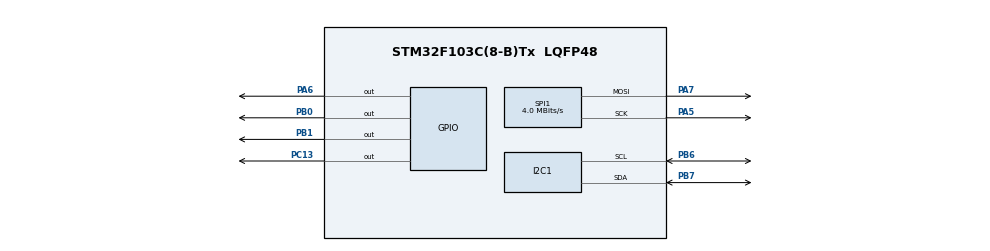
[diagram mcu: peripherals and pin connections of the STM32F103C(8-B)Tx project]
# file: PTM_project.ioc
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Mcu.Family=STM32F1
Mcu.Name=STM32F103C(8-B)Tx
Mcu.Package=LQFP48
NVIC.PriorityGroup=NVIC_PRIORITYGROUP_4
PA5.Mode=TX_Only_Simplex_Unidirect_Master
PA5.Signal=SPI1_SCK
PA6.Signal=GPIO_Output
PA7.Mode=TX_Only_Simplex_Unidirect_Master
PA7.Signal=SPI1_MOSI
PB0.Signal=GPIO_Output
PB1.Signal=GPIO_Output
PB6.Mode=I2C
PB6.Signal=I2C1_SCL
PB7.Mode=I2C
PB7.Signal=I2C1_SDA
PC13-TAMPER-RTC.Signal=GPIO_Output
PC14-OSC32_IN.Mode=LSE-External-Oscillator
PC14-OSC32_IN.Signal=RCC_OSC32_IN
PC15-OSC32_OUT.Mode=LSE-External-Oscillator
PC15-OSC32_OUT.Signal=RCC_OSC32_OUT
PD0-OSC_IN.Mode=HSE-External-Oscillator
PD0-OSC_IN.Signal=RCC_OSC_IN
PD1-OSC_OUT.Mode=HSE-External-Oscillator
PD1-OSC_OUT.Signal=RCC_OSC_OUT
ProjectManager.HeapSize=0x200
ProjectManager.StackSize=0x400
ProjectManager.TargetToolchain=STM32CubeIDE
RCC.APB1Freq_Value=8000000
RCC.APB2Freq_Value=8000000
SPI1.CalculateBaudRate=4.0 MBits/s
SPI1.Direction=SPI_DIRECTION_2LINES
SPI1.Mode=SPI_MODE_MASTER
SPI1.VirtualType=VM_MASTER
VP_SYS_VS_ND.Mode=No_Debug
board=custom

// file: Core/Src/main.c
/* USER CODE BEGIN Header */
/**
  ******************************************************************************
  * @file           : main.c
  * @brief          : Main program body
  ******************************************************************************
  * @attention
  *
  * <h2><center>&copy; Copyright (c) 2021 STMicroelectronics.
  * All rights reserved.</center></h2>
  *
  * This software component is licensed by ST under BSD 3-Clause license,
  * the "License"; You may not use this file except in compliance with the
  * License. You may obtain a copy of the License at:
  *                        opensource.org/licenses/BSD-3-Clause
  *
  ******************************************************************************
  */
/* USER CODE END Header */
#include "main.h"

/* USER CODE BEGIN PD */
#define LCD_X 84
#define LCD_Y 48

#define LCD_C GPIO_PIN_RESET//<- command
#define LCD_D GPIO_PIN_SET// <- data

/* USER CODE END PD */

I2C_HandleTypeDef hi2c1;

SPI_HandleTypeDef hspi1;

/* USER CODE BEGIN PV */
uint8_t buffer[48*84];
/* USER CODE END PV */

void SystemClock_Config(void);
static void MX_GPIO_Init(void);
static void MX_I2C1_Init(void);
static void MX_SPI1_Init(void);
/* USER CODE BEGIN PFP */
uint16_t map( uint16_t x, uint16_t in_min,uint16_t  in_max,uint16_t  out_min,uint16_t  out_max);

void LCD_Initialize();
void LCD_Command(uint8_t cmd);
void LCD_Data(uint8_t cmd);
void LCD_Clear();
void LCD_Fill();
void LCD_draw_pixel(uint8_t x, uint8_t y);
void LCD_Refresh();
void LCD_Draw_Line();

/* USER CODE END PFP */

int main(void)
{
  /* USER CODE BEGIN 1 */
	for(uint16_t i = 0; i < (LCD_X*LCD_Y/8); i ++){
		buffer[i]= 0x00;

	}
  /* USER CODE END 1 */

  /* MCU Configuration--------------------------------------------------------*/

  /* Reset of all peripherals, Initializes the Flash interface and the Systick. */
  HAL_Init();

  /* Configure the system clock */
  SystemClock_Config();

  /* Initialize all configured peripherals */
  MX_GPIO_Init();
  MX_I2C1_Init();
  MX_SPI1_Init();
  /* USER CODE BEGIN 2 */
  LCD_Initialize();
  LCD_Clear();

  for(uint16_t x = 0; x < LCD_X; x ++){
      LCD_draw_pixel(x, 0);
      LCD_draw_pixel(x, LCD_Y);

  }

  for(uint16_t y = 0; y < LCD_Y; y ++){
      LCD_draw_pixel(0, y);
      LCD_draw_pixel(LCD_X, y);

  }

  LCD_draw_pixel(40, 20);

  /* USER CODE END 2 */

  /* Infinite loop */
  while (1)
  {

  }
}

void SystemClock_Config(void)
{
  RCC_OscInitTypeDef RCC_OscInitStruct = {0};
  RCC_ClkInitTypeDef RCC_ClkInitStruct = {0};

  /** Initializes the RCC Oscillators according to the specified parameters
  * in the RCC_OscInitTypeDef structure.
  */
  RCC_OscInitStruct.OscillatorType = RCC_OSCILLATORTYPE_HSI;
  RCC_OscInitStruct.HSIState = RCC_HSI_ON;
  RCC_OscInitStruct.HSICalibrationValue = RCC_HSICALIBRATION_DEFAULT;
  RCC_OscInitStruct.PLL.PLLState = RCC_PLL_NONE;
  if (HAL_RCC_OscConfig(&RCC_OscInitStruct) != HAL_OK)
  {
    Error_Handler();
  }
  /** Initializes the CPU, AHB and APB buses clocks
  */
  RCC_ClkInitStruct.ClockType = RCC_CLOCKTYPE_HCLK|RCC_CLOCKTYPE_SYSCLK
                              |RCC_CLOCKTYPE_PCLK1|RCC_CLOCKTYPE_PCLK2;
  RCC_ClkInitStruct.SYSCLKSource = RCC_SYSCLKSOURCE_HSI;
  RCC_ClkInitStruct.AHBCLKDivider = RCC_SYSCLK_DIV1;
  RCC_ClkInitStruct.APB1CLKDivider = RCC_HCLK_DIV1;
  RCC_ClkInitStruct.APB2CLKDivider = RCC_HCLK_DIV1;

  if (HAL_RCC_ClockConfig(&RCC_ClkInitStruct, FLASH_LATENCY_0) != HAL_OK)
  {
    Error_Handler();
  }
}

static void MX_I2C1_Init(void)
{

  hi2c1.Instance = I2C1;
  hi2c1.Init.ClockSpeed = 100000;
  hi2c1.Init.DutyCycle = I2C_DUTYCYCLE_2;
  hi2c1.Init.OwnAddress1 = 0;
  hi2c1.Init.AddressingMode = I2C_ADDRESSINGMODE_7BIT;
  hi2c1.Init.DualAddressMode = I2C_DUALADDRESS_DISABLE;
  hi2c1.Init.OwnAddress2 = 0;
  hi2c1.Init.GeneralCallMode = I2C_GENERALCALL_DISABLE;
  hi2c1.Init.NoStretchMode = I2C_NOSTRETCH_DISABLE;
  if (HAL_I2C_Init(&hi2c1) != HAL_OK)
  {
    Error_Handler();
  }

}

static void MX_SPI1_Init(void)
{

  /* SPI1 parameter configuration*/
  hspi1.Instance = SPI1;
  hspi1.Init.Mode = SPI_MODE_MASTER;
  hspi1.Init.Direction = SPI_DIRECTION_2LINES;
  hspi1.Init.DataSize = SPI_DATASIZE_8BIT;
  hspi1.Init.CLKPolarity = SPI_POLARITY_LOW;
  hspi1.Init.CLKPhase = SPI_PHASE_1EDGE;
  hspi1.Init.NSS = SPI_NSS_SOFT;
  hspi1.Init.BaudRatePrescaler = SPI_BAUDRATEPRESCALER_2;
  hspi1.Init.FirstBit = SPI_FIRSTBIT_MSB;
  hspi1.Init.TIMode = SPI_TIMODE_DISABLE;
  hspi1.Init.CRCCalculation = SPI_CRCCALCULATION_DISABLE;
  hspi1.Init.CRCPolynomial = 10;
  if (HAL_SPI_Init(&hspi1) != HAL_OK)
  {
    Error_Handler();
  }

}

static void MX_GPIO_Init(void)
{
  GPIO_InitTypeDef GPIO_InitStruct = {0};

  /* GPIO Ports Clock Enable */
  __HAL_RCC_GPIOC_CLK_ENABLE();
  __HAL_RCC_GPIOD_CLK_ENABLE();
  __HAL_RCC_GPIOA_CLK_ENABLE();
  __HAL_RCC_GPIOB_CLK_ENABLE();

  /*Configure GPIO pin Output Level */
  HAL_GPIO_WritePin(GPIOC, GPIO_PIN_13, GPIO_PIN_RESET);

  /*Configure GPIO pin Output Level */
  HAL_GPIO_WritePin(GPIOA, GPIO_PIN_6, GPIO_PIN_RESET);

  /*Configure GPIO pin Output Level */
  HAL_GPIO_WritePin(GPIOB, GPIO_PIN_0|GPIO_PIN_1, GPIO_PIN_RESET);

  /*Configure GPIO pin : PC13 */
  GPIO_InitStruct.Pin = GPIO_PIN_13;
  GPIO_InitStruct.Mode = GPIO_MODE_OUTPUT_PP;
  GPIO_InitStruct.Pull = GPIO_NOPULL;
  GPIO_InitStruct.Speed = GPIO_SPEED_FREQ_LOW;
  HAL_GPIO_Init(GPIOC, &GPIO_InitStruct);

  /*Configure GPIO pin : PA6 */
  GPIO_InitStruct.Pin = GPIO_PIN_6;
  GPIO_InitStruct.Mode = GPIO_MODE_OUTPUT_PP;
  GPIO_InitStruct.Pull = GPIO_NOPULL;
  GPIO_InitStruct.Speed = GPIO_SPEED_FREQ_LOW;
  HAL_GPIO_Init(GPIOA, &GPIO_InitStruct);

  /*Configure GPIO pins : PB0 PB1 */
  GPIO_InitStruct.Pin = GPIO_PIN_0|GPIO_PIN_1;
  GPIO_InitStruct.Mode = GPIO_MODE_OUTPUT_PP;
  GPIO_InitStruct.Pull = GPIO_NOPULL;
  GPIO_InitStruct.Speed = GPIO_SPEED_FREQ_LOW;
  HAL_GPIO_Init(GPIOB, &GPIO_InitStruct);

}

/* USER CODE BEGIN 4 */
uint16_t map( uint16_t x, uint16_t in_min,uint16_t  in_max,uint16_t  out_min,uint16_t  out_max){
	return (x - in_min) * (out_max - out_min) / (in_max - in_min) + out_min;
}

void LCD_Initialize(){
	HAL_GPIO_WritePin(GPIOB, GPIO_PIN_0, GPIO_PIN_RESET);
	HAL_Delay(1);//only needed once xD
	HAL_GPIO_WritePin(GPIOB, GPIO_PIN_0, GPIO_PIN_SET);

    LCD_Command(0x21);
    LCD_Command(0xB1);
    LCD_Command(0x04);
    LCD_Command(0x14);
    //LCD_command(0x80 | 0x2f)
    LCD_Command(0x20);
    LCD_Command(0x0C);

}

void LCD_Command(uint8_t cmd){

	HAL_GPIO_WritePin(GPIOA, GPIO_PIN_6, GPIO_PIN_RESET);
	HAL_GPIO_WritePin(GPIOB, GPIO_PIN_1, LCD_C);
	HAL_SPI_Transmit(&hspi1, &cmd, 1, HAL_MAX_DELAY);
	HAL_GPIO_WritePin(GPIOA, GPIO_PIN_6, GPIO_PIN_SET);

}

void LCD_Data(uint8_t cmd){

	HAL_GPIO_WritePin(GPIOA, GPIO_PIN_6, GPIO_PIN_RESET);
	HAL_GPIO_WritePin(GPIOB, GPIO_PIN_1, LCD_D);
	HAL_SPI_Transmit(&hspi1, &cmd, 1, HAL_MAX_DELAY);
	HAL_GPIO_WritePin(GPIOA, GPIO_PIN_6, GPIO_PIN_SET);

}

void LCD_Clear(){
    LCD_Command(0b10000000);

    for(uint16_t i = 0; i < (84*64/8); i ++){
    	LCD_Data(0x00);
    }

    LCD_Command(0x80);
    LCD_Command(0x40);
}
void LCD_Fill(){

    LCD_Command(0b10000000);

	for(uint16_t i = 0; i < (84*64/8); i ++){
		LCD_Data(0b11111111);
	}

    LCD_Command(0x80);
    LCD_Command(0x40);

}
void LCD_draw_pixel(uint8_t x, uint8_t y){

    if (x >= LCD_X){
    	x = LCD_X-1;
    }

    if (x < 0){
    	x = 0;
    }

    if (y < 0){
    	y = 0;
    }

    if (y >= LCD_Y){
    	y = LCD_Y-1;
    }

    uint16_t i = (uint16_t)(y/8)*LCD_X + x;

    uint16_t bit_counter = y%8;
    uint16_t bit_value = buffer[i];
    bit_value |= (1<< bit_counter);

    buffer[i]=(bit_value);

}
void LCD_Refresh(){
    LCD_Command(0x80);
    LCD_Command(0x40);
	for(uint16_t i = 0; i < (LCD_X*LCD_Y/8); i ++){
        LCD_Data(buffer[i]);
	}

}

void LCD_Draw_Line();

/* USER CODE END 4 */

void Error_Handler(void)
{
  __disable_irq();
  while (1)
  {
  }
}

/************************ (C) COPYRIGHT STMicroelectronics *****END OF FILE****/
